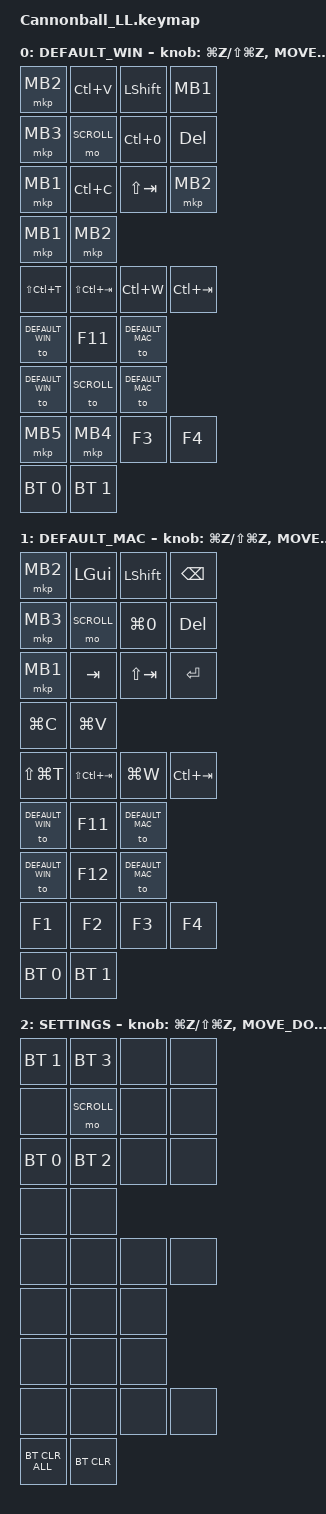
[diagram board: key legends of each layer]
#include <behaviors.dtsi>
#include <dt-bindings/zmk/bt.h>
#include <dt-bindings/zmk/keys.h>
#include <dt-bindings/zmk/pointing.h>
#include <dt-bindings/zmk/input_transform.h>

#define DEFAULT_WIN 0
#define DEFAULT_MAC 1
#define SCROLL 2


/ {
    /* Behaviors */
    // スクロール設定
    msc {
        acceleration-exponent = <0>;      // 0
        time-to-max-speed-ms = <200>;     // 300
        delay-ms = <5>;                   // 10
    };
    // エンコーダー：キー
    behaviors {
        rot_kp: sensor_rotate_kp {
            compatible = "zmk,behavior-sensor-rotate-var";
            #sensor-binding-cells = <2>;
            bindings = <&kp>, <&kp>;
        };
    };
    // エンコーダー：マウススクロール
    behaviors {
        rot_msc: sensor_rotate_msc {
            compatible = "zmk,behavior-sensor-rotate-var";
            #sensor-binding-cells = <2>;
            tap-ms = <20>;
            bindings = <&msc>, <&msc>;
        };
    };

    /* キーマップ */
    keymap {
        compatible = "zmk,keymap";

        // WINDOWS用
    	DEFAULT_WIN {
            bindings = <
                // Key
                &mkp MB2   &kp LC(V)  &kp LSHFT    &kp MB1
                &mkp MB3   &mo SCROLL &kp LC(N0)   &kp DEL
                &mkp MB1   &kp LC(C)  &kp LS(TAB)  &mkp MB2
                // Mouse
                &mkp MB1 &mkp MB2
                // Stick
                &kp LS(LC(T)) &kp LS(LC(TAB)) &kp LC(W) &kp LC(TAB)
                // Lever
                &to DEFAULT_WIN &kp F11 &to DEFAULT_MAC
                &to DEFAULT_WIN &to SCROLL &to DEFAULT_MAC
                // Side
                &mkp MB5 &mkp MB4 &kp F3 &kp F4
                // Back
                &bt BT_SEL 0 &bt BT_SEL 1
    	    >;
            sensor-bindings = <&rot_kp LG(Z) LS(LG(Z))>, <&rot_msc MOVE_DOWN MOVE_UP>, <&rot_kp LG(PLUS) LG(MINUS)>;
    	};

        // MacOS用
    	DEFAULT_MAC {
            bindings = <
                // Key
                &mkp MB2   &kp LGUI   &kp LSHFT    &kp BSPC
                &mkp MB3   &mo SCROLL &kp LG(N0)   &kp DEL
                &mkp MB1   &kp TAB    &kp LS(TAB)  &kp RET
                // Mouse
                &kp LG(C) &kp LG(V)
                // Stick
                &kp LS(LG(T)) &kp LS(LC(TAB)) &kp LG(W) &kp LC(TAB)
                // Lever
                &to DEFAULT_WIN &kp F11 &to DEFAULT_MAC
                &to DEFAULT_WIN &kp F12 &to DEFAULT_MAC
                // Side
                &kp F1 &kp F2 &kp F3 &kp F4
                // Back
                &bt BT_SEL 0 &bt BT_SEL 1
    	    >;
            sensor-bindings = <&rot_kp LG(Z) LS(LG(Z))>, <&rot_msc MOVE_DOWN MOVE_UP>, <&rot_kp LG(PLUS) LG(MINUS)>;
    	};

        // BT設定、スクロールレイヤー
        SETTINGS {
            bindings = <
                // Key
                &bt BT_SEL 1 &bt BT_SEL 3 &none &none
                &none &mo SCROLL &none &none
                &bt BT_SEL 0 &bt BT_SEL 2 &none &none
                // Mouse
                &none &none
                // Stick
                &none &none &none &none
                // Lever
                &none &none &none
                &none &none &none
                // Side
                &none &none &none &none
                // Back
                &bt BT_CLR_ALL &bt BT_CLR
    	    >;
            sensor-bindings = <&rot_kp LG(Z) LS(LG(Z))>, <&rot_msc MOVE_DOWN MOVE_UP>, <&rot_kp LG(PLUS) LG(MINUS)>;
    	};
    };
};
